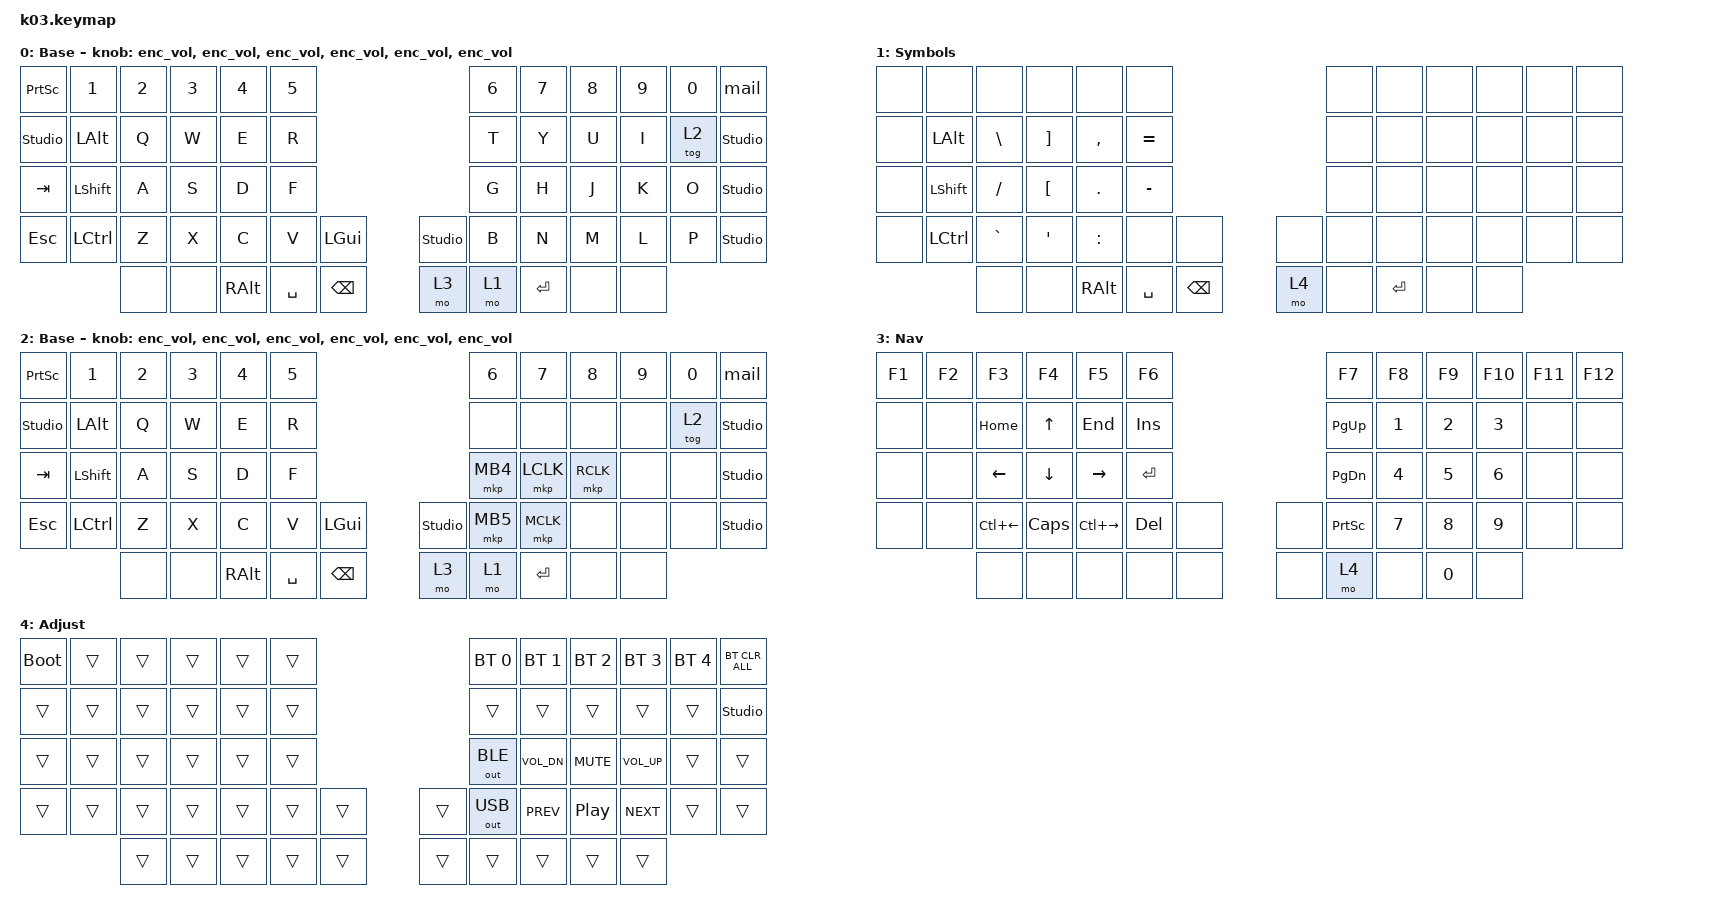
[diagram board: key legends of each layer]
#include "keys_ru.h"
#include <behaviors.dtsi>
#include <dt-bindings/zmk/bt.h>
#include <dt-bindings/zmk/keys.h>
#include <dt-bindings/zmk/outputs.h>
#include <dt-bindings/zmk/pointing.h>

/ {
    behaviors {
        enc_vol: enc_vol {
            compatible = "zmk,behavior-sensor-rotate";
            label = "ENC_VOL";
            #sensor-binding-cells = <0>;
            bindings = <&kp C_VOL_UP>, <&kp C_VOL_DN>;
        };
    };

    macros {
        mail: mail {
            compatible = "zmk,behavior-macro";
            #binding-cells = <0>;
            bindings = <&kp T &kp I &kp T &kp O &kp V &kp M &kp I &kp H &kp A &kp I &kp L &kp N0 &kp N5 &kp AT &kp M &kp A &kp I &kp L &kp DOT &kp R &kp U>;
            label = "MAIL";
        };
    };

    keymap {
        compatible = "zmk,keymap";

        base {
            bindings = <
&kp PRINTSCREEN  &kp N1          &kp N2  &kp N3  &kp N4         &kp N5                                      &kp N6  &kp N7     &kp N8  &kp N9  &kp N0  &mail
&studio_unlock   &kp LEFT_ALT    &kp Q   &kp W   &kp E          &kp R                                       &kp T   &kp Y      &kp U   &kp I   &tog 2  &studio_unlock
&kp TAB          &kp LEFT_SHIFT  &kp A   &kp S   &kp D          &kp F                                       &kp G   &kp H      &kp J   &kp K   &kp O   &studio_unlock
&kp ESC          &kp LCTRL       &kp Z   &kp X   &kp C          &kp V      &kp LEFT_GUI     &studio_unlock  &kp B   &kp N      &kp M   &kp L   &kp P   &studio_unlock
                                 &none   &none   &kp RIGHT_ALT  &kp SPACE  &kp BACKSPACE    &mo 3           &mo 1   &kp ENTER  &none   &none
            >;

            display-name = "Base";
            sensor-bindings =
                <&enc_vol>,
                <&enc_vol>,
                <&enc_vol>,
                <&enc_vol>,
                <&enc_vol>,
                <&enc_vol>;
        };

        sym {
            bindings = <
&none  &none           &none          &none              &none          &none                              &none  &none      &none  &none  &none  &none
&none  &kp LEFT_ALT    &kp BACKSLASH  &kp RIGHT_BRACKET  &kp COMMA      &kp EQUAL                          &none  &none      &none  &none  &none  &none
&none  &kp LEFT_SHIFT  &kp FSLH       &kp LEFT_BRACKET   &kp DOT        &kp MINUS                          &none  &none      &none  &none  &none  &none
&none  &kp LCTRL       &kp GRAVE      &kp SQT            &kp COLON      &none      &none            &none  &none  &none      &none  &none  &none  &none
                       &none          &none              &kp RIGHT_ALT  &kp SPACE  &kp BACKSPACE    &mo 4  &none  &kp ENTER  &none  &none
            >;

            display-name = "Symbols";
        };

        layer_4 {
            display-name = "Base";
            bindings = <
&kp PRINTSCREEN  &kp N1          &kp N2  &kp N3  &kp N4         &kp N5                                      &kp N6    &kp N7     &kp N8     &kp N9  &kp N0  &mail
&studio_unlock   &kp LEFT_ALT    &kp Q   &kp W   &kp E          &kp R                                       &none     &none      &none      &none   &tog 2  &studio_unlock
&kp TAB          &kp LEFT_SHIFT  &kp A   &kp S   &kp D          &kp F                                       &mkp MB4  &mkp LCLK  &mkp RCLK  &none   &none   &studio_unlock
&kp ESC          &kp LCTRL       &kp Z   &kp X   &kp C          &kp V      &kp LEFT_GUI     &studio_unlock  &mkp MB5  &mkp MCLK  &none      &none   &none   &studio_unlock
                                 &none   &none   &kp RIGHT_ALT  &kp SPACE  &kp BACKSPACE    &mo 3           &mo 1     &kp ENTER  &none      &none
            >;

            sensor-bindings =
                <&enc_vol>,
                <&enc_vol>,
                <&enc_vol>,
                <&enc_vol>,
                <&enc_vol>,
                <&enc_vol>;
        };

        nav {
            bindings = <
&kp F1  &kp F2  &kp F3        &kp F4    &kp F5         &kp F6                   &kp F7           &kp F8  &kp F9  &kp F10  &kp F11  &kp F12
&none   &none   &kp HOME      &kp UP    &kp END        &kp INS                  &kp PG_UP        &kp N1  &kp N2  &kp N3   &none    &none
&none   &none   &kp LEFT      &kp DOWN  &kp RIGHT      &kp RET                  &kp PG_DN        &kp N4  &kp N5  &kp N6   &none    &none
&none   &none   &kp LC(LEFT)  &kp CAPS  &kp LC(RIGHT)  &kp DEL  &none    &none  &kp PRINTSCREEN  &kp N7  &kp N8  &kp N9   &none    &none
                &none         &none     &none          &none    &none    &none  &mo 4            &none   &kp N0  &none
            >;

            display-name = "Nav";
        };

        adj {
            bindings = <
&bootloader  &trans  &trans  &trans  &trans  &trans                    &bt BT_SEL 0  &bt BT_SEL 1  &bt BT_SEL 2      &bt BT_SEL 3  &bt BT_SEL 4  &bt BT_CLR_ALL
&trans       &trans  &trans  &trans  &trans  &trans                    &trans        &trans        &trans            &trans        &trans        &studio_unlock
&trans       &trans  &trans  &trans  &trans  &trans                    &out OUT_BLE  &kp C_VOL_DN  &kp C_MUTE        &kp C_VOL_UP  &trans        &trans
&trans       &trans  &trans  &trans  &trans  &trans  &trans    &trans  &out OUT_USB  &kp C_PREV    &kp C_PLAY_PAUSE  &kp C_NEXT    &trans        &trans
                     &trans  &trans  &trans  &trans  &trans    &trans  &trans        &trans        &trans            &trans
            >;

            display-name = "Adjust";
        };
    };
};
